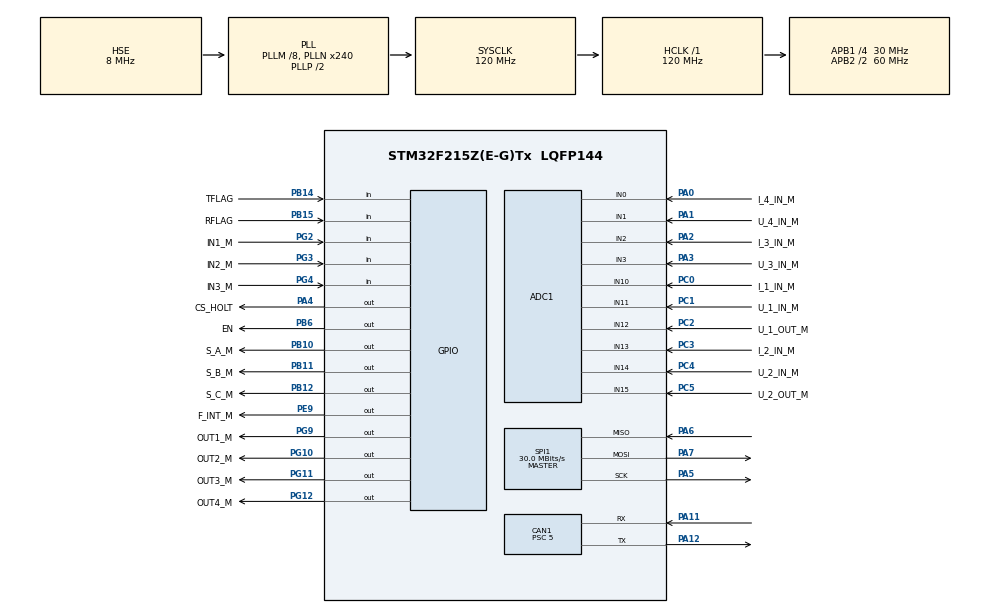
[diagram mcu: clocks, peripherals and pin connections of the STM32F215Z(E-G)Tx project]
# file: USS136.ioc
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ADC1.Channel-0\#ChannelRegularConversion=ADC_CHANNEL_0
ADC1.Channel-1\#ChannelRegularConversion=ADC_CHANNEL_1
ADC1.Channel-10\#ChannelRegularConversion=ADC_CHANNEL_TEMPSENSOR
ADC1.Channel-11\#ChannelRegularConversion=ADC_CHANNEL_VREFINT
ADC1.Channel-2\#ChannelRegularConversion=ADC_CHANNEL_2
ADC1.Channel-3\#ChannelRegularConversion=ADC_CHANNEL_3
ADC1.Channel-4\#ChannelRegularConversion=ADC_CHANNEL_10
ADC1.Channel-5\#ChannelRegularConversion=ADC_CHANNEL_11
ADC1.Channel-6\#ChannelRegularConversion=ADC_CHANNEL_12
ADC1.Channel-7\#ChannelRegularConversion=ADC_CHANNEL_13
ADC1.Channel-8\#ChannelRegularConversion=ADC_CHANNEL_14
ADC1.Channel-9\#ChannelRegularConversion=ADC_CHANNEL_15
ADC1.NbrOfConversion=12
ADC1.NbrOfConversionFlag=1
ADC1.Rank-0\#ChannelRegularConversion=1
ADC1.Rank-1\#ChannelRegularConversion=2
ADC1.Rank-10\#ChannelRegularConversion=11
ADC1.Rank-11\#ChannelRegularConversion=12
ADC1.Rank-2\#ChannelRegularConversion=3
ADC1.Rank-3\#ChannelRegularConversion=4
ADC1.Rank-4\#ChannelRegularConversion=5
ADC1.Rank-5\#ChannelRegularConversion=6
ADC1.Rank-6\#ChannelRegularConversion=7
ADC1.Rank-7\#ChannelRegularConversion=8
ADC1.Rank-8\#ChannelRegularConversion=9
ADC1.Rank-9\#ChannelRegularConversion=10
ADC1.SamplingTime-0\#ChannelRegularConversion=ADC_SAMPLETIME_3CYCLES
ADC1.SamplingTime-1\#ChannelRegularConversion=ADC_SAMPLETIME_3CYCLES
ADC1.SamplingTime-10\#ChannelRegularConversion=ADC_SAMPLETIME_3CYCLES
ADC1.SamplingTime-11\#ChannelRegularConversion=ADC_SAMPLETIME_3CYCLES
ADC1.SamplingTime-2\#ChannelRegularConversion=ADC_SAMPLETIME_3CYCLES
ADC1.SamplingTime-3\#ChannelRegularConversion=ADC_SAMPLETIME_3CYCLES
ADC1.SamplingTime-4\#ChannelRegularConversion=ADC_SAMPLETIME_3CYCLES
ADC1.SamplingTime-5\#ChannelRegularConversion=ADC_SAMPLETIME_3CYCLES
ADC1.SamplingTime-6\#ChannelRegularConversion=ADC_SAMPLETIME_3CYCLES
ADC1.SamplingTime-7\#ChannelRegularConversion=ADC_SAMPLETIME_3CYCLES
ADC1.SamplingTime-8\#ChannelRegularConversion=ADC_SAMPLETIME_3CYCLES
ADC1.SamplingTime-9\#ChannelRegularConversion=ADC_SAMPLETIME_3CYCLES
ADC1.master=1
CAN1.BS1=CAN_BS1_2TQ
CAN1.BS2=CAN_BS2_3TQ
CAN1.CalculateTimeBit=1000
CAN1.CalculateTimeQuantum=166.66666666666669
CAN1.Prescaler=5
Dma.ADC1.0.Channel=DMA_CHANNEL_0
Dma.ADC1.0.Direction=DMA_PERIPH_TO_MEMORY
Dma.ADC1.0.FIFOMode=DMA_FIFOMODE_DISABLE
Dma.ADC1.0.Instance=DMA2_Stream0
Dma.ADC1.0.MemDataAlignment=DMA_MDATAALIGN_HALFWORD
Dma.ADC1.0.MemInc=DMA_MINC_ENABLE
Dma.ADC1.0.Mode=DMA_NORMAL
Dma.ADC1.0.PeriphDataAlignment=DMA_PDATAALIGN_HALFWORD
Dma.ADC1.0.PeriphInc=DMA_PINC_DISABLE
Dma.ADC1.0.Priority=DMA_PRIORITY_LOW
Dma.Request0=ADC1
Dma.Request1=SPI1_RX
Dma.Request2=SPI1_TX
Dma.SPI1_RX.1.Channel=DMA_CHANNEL_3
Dma.SPI1_RX.1.Direction=DMA_PERIPH_TO_MEMORY
Dma.SPI1_RX.1.FIFOMode=DMA_FIFOMODE_DISABLE
Dma.SPI1_RX.1.Instance=DMA2_Stream2
Dma.SPI1_RX.1.MemDataAlignment=DMA_MDATAALIGN_BYTE
Dma.SPI1_RX.1.MemInc=DMA_MINC_ENABLE
Dma.SPI1_RX.1.Mode=DMA_NORMAL
Dma.SPI1_RX.1.PeriphDataAlignment=DMA_PDATAALIGN_BYTE
Dma.SPI1_RX.1.PeriphInc=DMA_PINC_DISABLE
Dma.SPI1_RX.1.Priority=DMA_PRIORITY_LOW
Dma.SPI1_TX.2.Channel=DMA_CHANNEL_3
Dma.SPI1_TX.2.Direction=DMA_MEMORY_TO_PERIPH
Dma.SPI1_TX.2.FIFOMode=DMA_FIFOMODE_DISABLE
Dma.SPI1_TX.2.Instance=DMA2_Stream3
Dma.SPI1_TX.2.MemDataAlignment=DMA_MDATAALIGN_BYTE
Dma.SPI1_TX.2.MemInc=DMA_MINC_ENABLE
Dma.SPI1_TX.2.Mode=DMA_NORMAL
Dma.SPI1_TX.2.PeriphDataAlignment=DMA_PDATAALIGN_BYTE
Dma.SPI1_TX.2.PeriphInc=DMA_PINC_DISABLE
Dma.SPI1_TX.2.Priority=DMA_PRIORITY_LOW
FREERTOS.Tasks01=defaultTask,0,128,StartDefaultTask,Default
FREERTOS.Timers01=myTimer01,Callback01,osTimerPeriodic,Default
FREERTOS.configUSE_IDLE_HOOK=1
FREERTOS.configUSE_TICK_HOOK=1
FREERTOS.configUSE_TIMERS=1
Mcu.Family=STM32F2
Mcu.Name=STM32F215Z(E-G)Tx
Mcu.Package=LQFP144
NVIC.CAN1_RX0_IRQn=true\:5\:0\:false\:false\:true
NVIC.CAN1_RX1_IRQn=true\:5\:0\:false\:false\:true
NVIC.CAN1_TX_IRQn=true\:5\:0\:false\:false\:true
NVIC.DMA2_Stream0_IRQn=true\:5\:0\:false\:false\:true
NVIC.DMA2_Stream2_IRQn=true\:5\:0\:false\:false\:true
NVIC.DMA2_Stream3_IRQn=true\:5\:0\:false\:false\:true
NVIC.PriorityGroup=NVIC_PRIORITYGROUP_4
NVIC.TIM1_UP_TIM10_IRQn=true\:0\:0\:false\:false\:true
NVIC.TimeBase=TIM1_UP_TIM10_IRQn
NVIC.TimeBaseIP=TIM1
PA0-WKUP.GPIO_Label=I_4_IN_M
PA0-WKUP.Signal=ADCx_IN0
PA1.GPIO_Label=U_4_IN_M
PA1.Signal=ADCx_IN1
PA11.Mode=Master
PA11.Signal=CAN1_RX
PA12.Mode=Master
PA12.Signal=CAN1_TX
PA2.GPIO_Label=I_3_IN_M
PA2.Signal=ADCx_IN2
PA3.GPIO_Label=U_3_IN_M
PA3.Signal=ADCx_IN3
PA4.GPIO_Label=CS_HOLT
PA4.Signal=GPIO_Output
PA5.Mode=Full_Duplex_Master
PA5.Signal=SPI1_SCK
PA6.Mode=Full_Duplex_Master
PA6.Signal=SPI1_MISO
PA7.Mode=Full_Duplex_Master
PA7.Signal=SPI1_MOSI
PB10.GPIO_Label=S_A_M
PB10.Signal=GPIO_Output
PB11.GPIO_Label=S_B_M
PB11.Signal=GPIO_Output
PB12.GPIO_Label=S_C_M
PB12.Signal=GPIO_Output
PB14.GPIO_Label=TFLAG
PB14.Signal=GPIO_Input
PB15.GPIO_Label=RFLAG
PB15.Signal=GPIO_Input
PB6.GPIO_Label=EN
PB6.Signal=GPIO_Output
PC0.GPIO_Label=I_1_IN_M
PC0.Signal=ADCx_IN10
PC1.GPIO_Label=U_1_IN_M
PC1.Signal=ADCx_IN11
PC2.GPIO_Label=U_1_OUT_M
PC2.Signal=ADCx_IN12
PC3.GPIO_Label=I_2_IN_M
PC3.Signal=ADCx_IN13
PC4.GPIO_Label=U_2_IN_M
PC4.Signal=ADCx_IN14
PC5.GPIO_Label=U_2_OUT_M
PC5.Signal=ADCx_IN15
PE9.GPIO_Label=F_INT_M
PE9.Signal=GPIO_Output
PG10.GPIO_Label=OUT2_M
PG10.Signal=GPIO_Output
PG11.GPIO_Label=OUT3_M
PG11.Signal=GPIO_Output
PG12.GPIO_Label=OUT4_M
PG12.Signal=GPIO_Output
PG2.GPIO_Label=IN1_M
PG2.Signal=GPIO_Input
PG3.GPIO_Label=IN2_M
PG3.Signal=GPIO_Input
PG4.GPIO_Label=IN3_M
PG4.Signal=GPIO_Input
PG9.GPIO_Label=OUT1_M
PG9.Signal=GPIO_Output
PH0-OSC_IN.Mode=HSE-External-Oscillator
PH0-OSC_IN.Signal=RCC_OSC_IN
PH1-OSC_OUT.Mode=HSE-External-Oscillator
PH1-OSC_OUT.Signal=RCC_OSC_OUT
ProjectManager.HeapSize=0x200
ProjectManager.StackSize=0x400
ProjectManager.TargetToolchain=MDK-ARM V5
RCC.48MHZClocksFreq_Value=60000000
RCC.AHBFreq_Value=120000000
RCC.APB1CLKDivider=RCC_HCLK_DIV4
RCC.APB1Freq_Value=30000000
RCC.APB1TimFreq_Value=60000000
RCC.APB2CLKDivider=RCC_HCLK_DIV2
RCC.APB2Freq_Value=60000000
RCC.APB2TimCLKDivider=1
RCC.APB2TimFreq_Value=60000000
RCC.CortexFreq_Value=120000000
RCC.HCLKFreq_Value=120000000
RCC.HSE_VALUE=8000000
RCC.HSI_VALUE=16000000
RCC.LSE_VALUE=32768
RCC.PLLM=8
RCC.PLLN=240
RCC.PLLSourceVirtual=RCC_PLLSOURCE_HSE
RCC.SYSCLKFreq_VALUE=120000000
RCC.SYSCLKSource=RCC_SYSCLKSOURCE_PLLCLK
RCC.VCOOutputFreq_Value=240000000
SH.ADCx_IN0.0=ADC1_IN0,IN0
SH.ADCx_IN1.0=ADC1_IN1,IN1
SH.ADCx_IN10.0=ADC1_IN10,IN10
SH.ADCx_IN11.0=ADC1_IN11,IN11
SH.ADCx_IN12.0=ADC1_IN12,IN12
SH.ADCx_IN13.0=ADC1_IN13,IN13
SH.ADCx_IN14.0=ADC1_IN14,IN14
SH.ADCx_IN15.0=ADC1_IN15,IN15
SH.ADCx_IN2.0=ADC1_IN2,IN2
SH.ADCx_IN3.0=ADC1_IN3,IN3
SPI1.BaudRatePrescaler=SPI_BAUDRATEPRESCALER_2
SPI1.CalculateBaudRate=30.0 MBits/s
SPI1.Mode=SPI_MODE_MASTER
VP_ADC1_TempSens_Input.Mode=IN-TempSens
VP_ADC1_Vref_Input.Mode=IN-Vrefint
VP_FREERTOS_VS_ENABLE.Mode=Enabled
VP_SYS_VS_tim1.Mode=TIM1
board=USS136

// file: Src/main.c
/**
  ******************************************************************************
  * File Name          : main.c
  * Description        : Main program body
  ******************************************************************************
  *
  * COPYRIGHT(c) 2016 STMicroelectronics
  *
  * Redistribution and use in source and binary forms, with or without
  *modification,
  * are permitted provided that the following conditions are met:
  *   1. Redistributions of source code must retain the above copyright notice,
  *      this list of conditions and the following disclaimer.
  *   2. Redistributions in binary form must reproduce the above copyright
  *notice,
  *      this list of conditions and the following disclaimer in the
  *documentation
  *      and/or other materials provided with the distribution.
  *   3. Neither the name of STMicroelectronics nor the names of its
  *contributors
  *      may be used to endorse or promote products derived from this software
  *      without specific prior written permission.
  *
  * THIS SOFTWARE IS PROVIDED BY THE COPYRIGHT HOLDERS AND CONTRIBUTORS "AS IS"
  * AND ANY EXPRESS OR IMPLIED WARRANTIES, INCLUDING, BUT NOT LIMITED TO, THE
  * IMPLIED WARRANTIES OF MERCHANTABILITY AND FITNESS FOR A PARTICULAR PURPOSE
  *ARE
  * DISCLAIMED. IN NO EVENT SHALL THE COPYRIGHT HOLDER OR CONTRIBUTORS BE LIABLE
  * FOR ANY DIRECT, INDIRECT, INCIDENTAL, SPECIAL, EXEMPLARY, OR CONSEQUENTIAL
  * DAMAGES (INCLUDING, BUT NOT LIMITED TO, PROCUREMENT OF SUBSTITUTE GOODS OR
  * SERVICES; LOSS OF USE, DATA, OR PROFITS; OR BUSINESS INTERRUPTION) HOWEVER
  * CAUSED AND ON ANY THEORY OF LIABILITY, WHETHER IN CONTRACT, STRICT
  *LIABILITY,
  * OR TORT (INCLUDING NEGLIGENCE OR OTHERWISE) ARISING IN ANY WAY OUT OF THE
  *USE
  * OF THIS SOFTWARE, EVEN IF ADVISED OF THE POSSIBILITY OF SUCH DAMAGE.
  *
  ******************************************************************************
  */
#include "stm32f2xx_hal.h"
#include "cmsis_os.h"
#include "adc.h"
#include "can.h"
#include "dma.h"
#include "spi.h"
#include "gpio.h"

/* USER CODE BEGIN PV */
/* Private variables ---------------------------------------------------------*/

/* USER CODE END PV */

void SystemClock_Config(void);
void MX_FREERTOS_Init(void);

/* USER CODE BEGIN PFP */
/* Private function prototypes -----------------------------------------------*/

/* USER CODE END PFP */

int main(void)
{

    /* MCU
   * Configuration----------------------------------------------------------*/

    /* Reset of all peripherals, Initializes the Flash interface and the Systick.
   */
    HAL_Init();

    /* Configure the system clock */
    SystemClock_Config();

    /* Initialize all configured peripherals */
    MX_GPIO_Init();
    MX_DMA_Init();
    MX_ADC1_Init();
    MX_CAN1_Init();
    MX_SPI1_Init();

    /* Call init function for freertos objects (in freertos.c) */
    MX_FREERTOS_Init();

    /* Start scheduler */
    osKernelStart();

    /* We should never get here as control is now taken by the scheduler */

    /* Infinite loop */
    /* USER CODE BEGIN WHILE */

    /* USER CODE END 3 */
}

/** System Clock Configuration
*/
void SystemClock_Config(void)
{
    RCC_OscInitTypeDef RCC_OscInitStruct;
    RCC_ClkInitTypeDef RCC_ClkInitStruct;

    RCC_OscInitStruct.OscillatorType = RCC_OSCILLATORTYPE_HSE;
    RCC_OscInitStruct.HSEState = RCC_HSE_ON;
    RCC_OscInitStruct.PLL.PLLState = RCC_PLL_ON;
    RCC_OscInitStruct.PLL.PLLSource = RCC_PLLSOURCE_HSE;
    RCC_OscInitStruct.PLL.PLLM = 8;
    RCC_OscInitStruct.PLL.PLLN = 240;
    RCC_OscInitStruct.PLL.PLLP = RCC_PLLP_DIV2;
    RCC_OscInitStruct.PLL.PLLQ = 4;
    HAL_RCC_OscConfig(&RCC_OscInitStruct);

    RCC_ClkInitStruct.ClockType = RCC_CLOCKTYPE_HCLK | RCC_CLOCKTYPE_SYSCLK | RCC_CLOCKTYPE_PCLK1 | RCC_CLOCKTYPE_PCLK2;
    RCC_ClkInitStruct.SYSCLKSource = RCC_SYSCLKSOURCE_PLLCLK;
    RCC_ClkInitStruct.AHBCLKDivider = RCC_SYSCLK_DIV1;
    RCC_ClkInitStruct.APB1CLKDivider = RCC_HCLK_DIV4;
    RCC_ClkInitStruct.APB2CLKDivider = RCC_HCLK_DIV2;
    HAL_RCC_ClockConfig(&RCC_ClkInitStruct, FLASH_LATENCY_3);

    HAL_SYSTICK_Config(HAL_RCC_GetHCLKFreq() / 1000);

    HAL_SYSTICK_CLKSourceConfig(SYSTICK_CLKSOURCE_HCLK);

    /* SysTick_IRQn interrupt configuration */
    HAL_NVIC_SetPriority(SysTick_IRQn, 15, 0);
}

#ifdef USE_FULL_ASSERT

/**
   * @brief Reports the name of the source file and the source line number
   * where the assert_param error has occurred.
   * @param file: pointer to the source file name
   * @param line: assert_param error line source number
   * @retval None
   */
void assert_failed(uint8_t* file, uint32_t line)
{
    /* USER CODE BEGIN 6 */
    /* User can add his own implementation to report the file name and line
    number,
    ex: printf("Wrong parameters value: file %s on line %d\r\n", file, line) */
    /* USER CODE END 6 */
}

#endif

/************************ (C) COPYRIGHT STMicroelectronics *****END OF FILE****/

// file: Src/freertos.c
/**
  ******************************************************************************
  * File Name          : freertos.c
  * Description        : Code for freertos applications
  ******************************************************************************
  *
  * COPYRIGHT(c) 2016 STMicroelectronics
  *
  * Redistribution and use in source and binary forms, with or without
  *modification,
  * are permitted provided that the following conditions are met:
  *   1. Redistributions of source code must retain the above copyright notice,
  *      this list of conditions and the following disclaimer.
  *   2. Redistributions in binary form must reproduce the above copyright
  *notice,
  *      this list of conditions and the following disclaimer in the
  *documentation
  *      and/or other materials provided with the distribution.
  *   3. Neither the name of STMicroelectronics nor the names of its
  *contributors
  *      may be used to endorse or promote products derived from this software
  *      without specific prior written permission.
  *
  * THIS SOFTWARE IS PROVIDED BY THE COPYRIGHT HOLDERS AND CONTRIBUTORS "AS IS"
  * AND ANY EXPRESS OR IMPLIED WARRANTIES, INCLUDING, BUT NOT LIMITED TO, THE
  * IMPLIED WARRANTIES OF MERCHANTABILITY AND FITNESS FOR A PARTICULAR PURPOSE
  *ARE
  * DISCLAIMED. IN NO EVENT SHALL THE COPYRIGHT HOLDER OR CONTRIBUTORS BE LIABLE
  * FOR ANY DIRECT, INDIRECT, INCIDENTAL, SPECIAL, EXEMPLARY, OR CONSEQUENTIAL
  * DAMAGES (INCLUDING, BUT NOT LIMITED TO, PROCUREMENT OF SUBSTITUTE GOODS OR
  * SERVICES; LOSS OF USE, DATA, OR PROFITS; OR BUSINESS INTERRUPTION) HOWEVER
  * CAUSED AND ON ANY THEORY OF LIABILITY, WHETHER IN CONTRACT, STRICT
  *LIABILITY,
  * OR TORT (INCLUDING NEGLIGENCE OR OTHERWISE) ARISING IN ANY WAY OUT OF THE
  *USE
  * OF THIS SOFTWARE, EVEN IF ADVISED OF THE POSSIBILITY OF SUCH DAMAGE.
  *
  ******************************************************************************
  */

#include "FreeRTOS.h"
#include "task.h"
#include "cmsis_os.h"
#include "stm32f2xx_hal.h"
#include "cpu_utils.h"
#include "tcc_task.h"
#include "can_task.h"
#include "rz_task.h"
/* USER CODE BEGIN Includes */
#define F_INT_LOW \
    HAL_GPIO_WritePin(F_INT_M_GPIO_Port, F_INT_M_Pin, GPIO_PIN_RESET);
#define F_INT_HIGHT \
    HAL_GPIO_WritePin(F_INT_M_GPIO_Port, F_INT_M_Pin, GPIO_PIN_SET);

#define EN_READ HAL_GPIO_ReadPin(EN_GPIO_Port, EN_Pin);

uint16_t CPU_load;

/* USER CODE END Includes */

osThreadId defaultTaskHandle;
osThreadId IntegtatorId;
osThreadId TCC1_Task;
osThreadId TCC2_Task;
osThreadId TCC3_Task;
osThreadId TCC4_Task;
osThreadId TCC1_Task_VSK;
osThreadId TCC2_Task_VSK;
osThreadId TCC3_Task_VSK;
osThreadId TCC4_Task_VSK;

osThreadId RZ_TaskId;

osThreadId CAN_TaskId;
osTimerId myTimer01Handle;

/* USER CODE BEGIN Variables */
extern uint32_t Timer_100_ms;
extern uint32_t Timer_1_s;
extern uint32_t Timer_8_s;
/* USER CODE END Variables */

void StartDefaultTask(void const* argument);
void IntegratorTask(void const* argument);
void CAN_Task(void const* argument);

void Callback01(void const* argument);

void MX_FREERTOS_Init(void); /* (MISRA C 2004 rule 8.1) */

void MX_FREERTOS_Init(void)
{

    osTimerDef(myTimer01, Callback01);
    myTimer01Handle = osTimerCreate(osTimer(myTimer01), osTimerPeriodic, NULL);

    osThreadDef(defaultTask, StartDefaultTask, osPriorityBelowNormal, 0, 128);
    defaultTaskHandle = osThreadCreate(osThread(defaultTask), NULL);

    osThreadDef(TCC1_Task, Sensor_1_Task, osPriorityBelowNormal, 0, 128);
    TCC1_Task = osThreadCreate(osThread(TCC1_Task), NULL);

    osThreadDef(TCC2_Task, Sensor_2_Task, osPriorityBelowNormal, 0, 128);
    TCC2_Task = osThreadCreate(osThread(TCC2_Task), NULL);

    osThreadDef(TCC3_Task, Sensor_3_Task, osPriorityBelowNormal, 0, 128);
    TCC3_Task = osThreadCreate(osThread(TCC3_Task), NULL);

    osThreadDef(TCC4_Task, Sensor_4_Task, osPriorityBelowNormal, 0, 128);
    TCC4_Task = osThreadCreate(osThread(TCC4_Task), NULL);

    osThreadDef(TCC1_Task_VSK, Sensor_1_Task_Vsk, osPriorityBelowNormal, 0, 128);
    TCC1_Task_VSK = osThreadCreate(osThread(TCC1_Task_VSK), NULL);

    osThreadDef(TCC2_Task_VSK, Sensor_2_Task_Vsk, osPriorityBelowNormal, 0, 128);
    TCC2_Task_VSK = osThreadCreate(osThread(TCC2_Task_VSK), NULL);

    osThreadDef(TCC3_Task_VSK, Sensor_3_Task_Vsk, osPriorityBelowNormal, 0, 128);
    TCC3_Task_VSK = osThreadCreate(osThread(TCC3_Task_VSK), NULL);

    osThreadDef(TCC4_Task_VSK, Sensor_4_Task_Vsk, osPriorityBelowNormal, 0, 128);
    TCC4_Task_VSK = osThreadCreate(osThread(TCC4_Task_VSK), NULL);

    osThreadDef(IntegratorTask, IntegratorTask, osPriorityNormal, 0, 128);
    IntegtatorId = osThreadCreate(osThread(IntegratorTask), NULL);

    osThreadDef(CAN_Task, CAN_Task, osPriorityNormal, 0, 256);
    CAN_TaskId = osThreadCreate(osThread(CAN_Task), NULL);

    osThreadDef(RZ_TaskId, RZ_Task, osPriorityNormal, 0, 256);
    RZ_TaskId = osThreadCreate(osThread(RZ_TaskId), NULL);

    osTimerStart(myTimer01Handle, 1);
}

void CAN_Task(void const* argument)
{
    while (1) {
        CAN_Transmit();
        osDelay(100);
    }
}

void IntegratorTask(void const* argument)
{
    static uint8_t state;
    uint8_t EN_Control;
    while (1) {
        if (state == 0) {
            F_INT_LOW;
            state = 1;
        }
        else {
            F_INT_HIGHT;
            state = 0;
        }
        EN_Control = EN_READ;
        if (EN_Control == 1) {
        }
        else {
        }
        osDelay(1);
        CPU_load = osGetCPUUsage();
    }
}

void StartDefaultTask(void const* argument)
{
    Task_TCC();
}

/* Callback01 function */
void Callback01(void const* argument)
{
    /* USER CODE BEGIN Callback01 */
    if (Timer_100_ms > 0)
        Timer_100_ms--;
    if (Timer_1_s > 0)
        Timer_1_s--;
    if (Timer_8_s > 0)
        Timer_8_s--;
    /* USER CODE END Callback01 */
}

/************************ (C) COPYRIGHT STMicroelectronics *****END OF FILE****/
